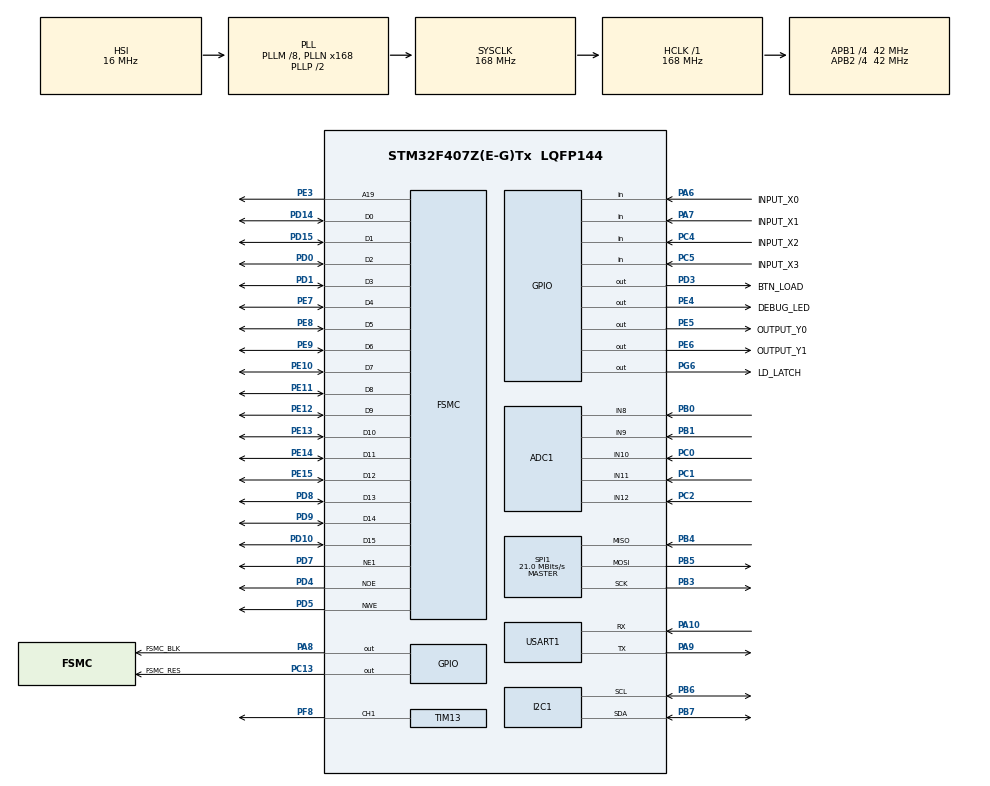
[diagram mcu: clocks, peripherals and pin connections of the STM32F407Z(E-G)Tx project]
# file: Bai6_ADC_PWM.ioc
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ADC1.Channel-0\#ChannelRegularConversion=ADC_CHANNEL_8
ADC1.Channel-1\#ChannelRegularConversion=ADC_CHANNEL_9
ADC1.Channel-2\#ChannelRegularConversion=ADC_CHANNEL_10
ADC1.Channel-3\#ChannelRegularConversion=ADC_CHANNEL_11
ADC1.Channel-4\#ChannelRegularConversion=ADC_CHANNEL_12
ADC1.NbrOfConversion=5
ADC1.NbrOfConversionFlag=1
ADC1.Rank-0\#ChannelRegularConversion=1
ADC1.Rank-1\#ChannelRegularConversion=2
ADC1.Rank-2\#ChannelRegularConversion=3
ADC1.Rank-3\#ChannelRegularConversion=4
ADC1.Rank-4\#ChannelRegularConversion=5
ADC1.SamplingTime-0\#ChannelRegularConversion=ADC_SAMPLETIME_3CYCLES
ADC1.SamplingTime-1\#ChannelRegularConversion=ADC_SAMPLETIME_3CYCLES
ADC1.SamplingTime-2\#ChannelRegularConversion=ADC_SAMPLETIME_3CYCLES
ADC1.SamplingTime-3\#ChannelRegularConversion=ADC_SAMPLETIME_3CYCLES
ADC1.SamplingTime-4\#ChannelRegularConversion=ADC_SAMPLETIME_3CYCLES
ADC1.ScanConvMode=ENABLE
ADC1.master=1
Dma.ADC1.0.Direction=DMA_PERIPH_TO_MEMORY
Dma.ADC1.0.FIFOMode=DMA_FIFOMODE_DISABLE
Dma.ADC1.0.Instance=DMA2_Stream0
Dma.ADC1.0.MemDataAlignment=DMA_MDATAALIGN_HALFWORD
Dma.ADC1.0.MemInc=DMA_MINC_ENABLE
Dma.ADC1.0.Mode=DMA_CIRCULAR
Dma.ADC1.0.PeriphDataAlignment=DMA_PDATAALIGN_HALFWORD
Dma.ADC1.0.PeriphInc=DMA_PINC_DISABLE
Dma.ADC1.0.Priority=DMA_PRIORITY_LOW
Dma.Request0=ADC1
FSMC.AddressSetupTime1=0xf
FSMC.BusTurnAroundDuration1=0
FSMC.DataSetupTime1=60
FSMC.ExtendedAddressSetupTime1=8
FSMC.ExtendedBusTurnAroundDuration1=0
FSMC.ExtendedDataSetupTime1=9
FSMC.ExtendedMode1=FSMC_EXTENDED_MODE_ENABLE
Mcu.Family=STM32F4
Mcu.Name=STM32F407Z(E-G)Tx
Mcu.Package=LQFP144
NVIC.DMA2_Stream0_IRQn=true\:0\:0\:false\:false\:true\:false\:true\:true
NVIC.PriorityGroup=NVIC_PRIORITYGROUP_4
NVIC.TIM2_IRQn=true\:0\:0\:false\:false\:true\:true\:true\:true
NVIC.USART1_IRQn=true\:0\:0\:false\:false\:true\:true\:true\:true
PA10.Mode=Asynchronous
PA10.Signal=USART1_RX
PA13.Mode=Serial_Wire
PA13.Signal=SYS_JTMS-SWDIO
PA14.Mode=Serial_Wire
PA14.Signal=SYS_JTCK-SWCLK
PA6.GPIO_Label=INPUT_X0
PA6.Signal=GPIO_Input
PA7.GPIO_Label=INPUT_X1
PA7.Signal=GPIO_Input
PA8.GPIO_Label=FSMC_BLK
PA8.Signal=GPIO_Output
PA9.Mode=Asynchronous
PA9.Signal=USART1_TX
PB0.Signal=ADCx_IN8
PB1.Signal=ADCx_IN9
PB3.Mode=Full_Duplex_Master
PB3.Signal=SPI1_SCK
PB4.Mode=Full_Duplex_Master
PB4.Signal=SPI1_MISO
PB5.Mode=Full_Duplex_Master
PB5.Signal=SPI1_MOSI
PB6.Mode=I2C
PB6.Signal=I2C1_SCL
PB7.Mode=I2C
PB7.Signal=I2C1_SDA
PC0.Signal=ADCx_IN10
PC1.Signal=ADCx_IN11
PC13-ANTI_TAMP.GPIO_Label=FSMC_RES
PC13-ANTI_TAMP.Signal=GPIO_Output
PC2.Signal=ADCx_IN12
PC4.GPIO_Label=INPUT_X2
PC4.Signal=GPIO_Input
PC5.GPIO_Label=INPUT_X3
PC5.Signal=GPIO_Input
PD0.Signal=FSMC_D2_DA2
PD1.Signal=FSMC_D3_DA3
PD10.Signal=FSMC_D15_DA15
PD14.Signal=FSMC_D0_DA0
PD15.Signal=FSMC_D1_DA1
PD3.GPIO_Label=BTN_LOAD
PD3.Signal=GPIO_Output
PD4.Signal=FSMC_NOE
PD5.Signal=FSMC_NWE
PD7.Mode=NorPsramChipSelect1_1
PD7.Signal=FSMC_NE1
PD8.Signal=FSMC_D13_DA13
PD9.Signal=FSMC_D14_DA14
PE10.Signal=FSMC_D7_DA7
PE11.Signal=FSMC_D8_DA8
PE12.Signal=FSMC_D9_DA9
PE13.Signal=FSMC_D10_DA10
PE14.Signal=FSMC_D11_DA11
PE15.Signal=FSMC_D12_DA12
PE3.Signal=FSMC_A19
PE4.GPIO_Label=DEBUG_LED
PE4.Signal=GPIO_Output
PE5.GPIO_Label=OUTPUT_Y0
PE5.Signal=GPIO_Output
PE6.GPIO_Label=OUTPUT_Y1
PE6.Signal=GPIO_Output
PE7.Signal=FSMC_D4_DA4
PE8.Signal=FSMC_D5_DA5
PE9.Signal=FSMC_D6_DA6
PF8.Signal=S_TIM13_CH1
PG6.GPIO_Label=LD_LATCH
PG6.Signal=GPIO_Output
PH0-OSC_IN.Mode=HSE-External-Oscillator
PH0-OSC_IN.Signal=RCC_OSC_IN
PH1-OSC_OUT.Mode=HSE-External-Oscillator
PH1-OSC_OUT.Signal=RCC_OSC_OUT
ProjectManager.HeapSize=0x200
ProjectManager.StackSize=0x400
ProjectManager.TargetToolchain=STM32CubeIDE
RCC.48MHZClocksFreq_Value=84000000
RCC.AHBFreq_Value=168000000
RCC.APB1CLKDivider=RCC_HCLK_DIV4
RCC.APB1Freq_Value=42000000
RCC.APB1TimFreq_Value=84000000
RCC.APB2CLKDivider=RCC_HCLK_DIV4
RCC.APB2Freq_Value=42000000
RCC.APB2TimFreq_Value=84000000
RCC.CortexFreq_Value=168000000
RCC.HCLKFreq_Value=168000000
RCC.HSE_VALUE=8000000
RCC.HSI_VALUE=16000000
RCC.LSE_VALUE=32768
RCC.PLLM=8
RCC.PLLN=168
RCC.SYSCLKFreq_VALUE=168000000
RCC.SYSCLKSource=RCC_SYSCLKSOURCE_PLLCLK
RCC.VCOOutputFreq_Value=336000000
SH.ADCx_IN10.0=ADC1_IN10,IN10
SH.ADCx_IN11.0=ADC1_IN11,IN11
SH.ADCx_IN12.0=ADC1_IN12,IN12
SH.ADCx_IN8.0=ADC1_IN8,IN8
SH.ADCx_IN9.0=ADC1_IN9,IN9
SH.FSMC_A19.0=FSMC_A19,A19_1
SH.FSMC_D0_DA0.0=FSMC_D0,16b-d1
SH.FSMC_D10_DA10.0=FSMC_D10,16b-d1
SH.FSMC_D11_DA11.0=FSMC_D11,16b-d1
SH.FSMC_D12_DA12.0=FSMC_D12,16b-d1
SH.FSMC_D13_DA13.0=FSMC_D13,16b-d1
SH.FSMC_D14_DA14.0=FSMC_D14,16b-d1
SH.FSMC_D15_DA15.0=FSMC_D15,16b-d1
SH.FSMC_D1_DA1.0=FSMC_D1,16b-d1
SH.FSMC_D2_DA2.0=FSMC_D2,16b-d1
SH.FSMC_D3_DA3.0=FSMC_D3,16b-d1
SH.FSMC_D4_DA4.0=FSMC_D4,16b-d1
SH.FSMC_D5_DA5.0=FSMC_D5,16b-d1
SH.FSMC_D6_DA6.0=FSMC_D6,16b-d1
SH.FSMC_D7_DA7.0=FSMC_D7,16b-d1
SH.FSMC_D8_DA8.0=FSMC_D8,16b-d1
SH.FSMC_D9_DA9.0=FSMC_D9,16b-d1
SH.FSMC_NOE.0=FSMC_NOE,Lcd1
SH.FSMC_NWE.0=FSMC_NWE,Lcd1
SH.S_TIM13_CH1.0=TIM13_CH1,PWM Generation1 CH1
SPI1.BaudRatePrescaler=SPI_BAUDRATEPRESCALER_2
SPI1.CalculateBaudRate=21.0 MBits/s
SPI1.Direction=SPI_DIRECTION_2LINES
SPI1.Mode=SPI_MODE_MASTER
SPI1.VirtualType=VM_MASTER
TIM13.Channel=TIM_CHANNEL_1
TIM13.Period=100-1
TIM13.Prescaler=840-1
TIM2.Period=100-1
TIM2.Prescaler=840-1
USART1.VirtualMode=VM_ASYNC
VP_TIM13_VS_ClockSourceINT.Mode=Enable_Timer
VP_TIM2_VS_ClockSourceINT.Mode=Internal
board=custom

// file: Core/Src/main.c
/* USER CODE BEGIN Header */
/**
 ******************************************************************************
 * @file           : main.c
 * @brief          : Main program body
 ******************************************************************************
 * @attention
 *
 * <h2><center>&copy; Copyright (c) 2023 STMicroelectronics.
 * All rights reserved.</center></h2>
 *
 * This software component is licensed by ST under BSD 3-Clause license,
 * the "License"; You may not use this file except in compliance with the
 * License. You may obtain a copy of the License at:
 *                        opensource.org/licenses/BSD-3-Clause
 *
 ******************************************************************************
 */
/* USER CODE END Header */
#include "main.h"
#include "adc.h"
#include "dma.h"
#include "i2c.h"
#include "spi.h"
#include "tim.h"
#include "usart.h"
#include "gpio.h"
#include "fsmc.h"

/* USER CODE BEGIN Includes */
#include "software_timer.h"
#include "led_7seg.h"
#include "button.h"
#include "lcd.h"
#include "picture.h"
#include "ds3231.h"
#include "sensor.h"
#include "buzzer.h"
#include "global.h"
#include "uart.h"
/* USER CODE END Includes */

/* USER CODE BEGIN PV */
// 0 = Text Mode, 1 = Graph Mode
uint8_t display_mode = 0;
uint8_t mode_changed_flag = 1; // Trigger initial screen setup

// Graph Settings
#define GRAPH_X_START 20
#define GRAPH_Y_BASE 300
#define GRAPH_WIDTH 200
#define GRAPH_HEIGHT 100 // Increased height for better visibility
#define GRAPH_MIN_VAL 500.0f
#define GRAPH_MAX_VAL 700.0f
// Graph State
static uint16_t g_curX = 0;
static uint16_t g_prevY = GRAPH_Y_BASE;
/* USER CODE END PV */

void SystemClock_Config(void);
/* USER CODE BEGIN PFP */
void system_init();
void test_LedDebug();
void test_Buzzer();
void test_Adc();
void checkingCondition();
/* USER CODE END PFP */

int main(void)
{

  /* MCU Configuration--------------------------------------------------------*/

  /* Reset of all peripherals, Initializes the Flash interface and the Systick. */
  HAL_Init();

  /* Configure the system clock */
  SystemClock_Config();

  /* Initialize all configured peripherals */
  MX_GPIO_Init();
  MX_DMA_Init();
  MX_TIM2_Init();
  MX_SPI1_Init();
  MX_FSMC_Init();
  MX_I2C1_Init();
  MX_TIM13_Init();
  MX_ADC1_Init();
  MX_USART1_UART_Init();
  /* USER CODE BEGIN 2 */
  system_init();
  /* USER CODE END 2 */

  /* Infinite loop */
  /* USER CODE BEGIN WHILE */
  lcd_Clear(BLACK);
  while (1)
  {
    while (!flag_timer2)
      ;
    flag_timer2 = 0;
    button_Scan();
    test_LedDebug();
    test_Adc();
    test_Buzzer();
    checkingCondition();
    /* USER CODE END WHILE */

  }
}

void SystemClock_Config(void)
{
  RCC_OscInitTypeDef RCC_OscInitStruct = {0};
  RCC_ClkInitTypeDef RCC_ClkInitStruct = {0};

  /** Configure the main internal regulator output voltage
   */
  __HAL_RCC_PWR_CLK_ENABLE();
  __HAL_PWR_VOLTAGESCALING_CONFIG(PWR_REGULATOR_VOLTAGE_SCALE1);
  /** Initializes the RCC Oscillators according to the specified parameters
   * in the RCC_OscInitTypeDef structure.
   */
  RCC_OscInitStruct.OscillatorType = RCC_OSCILLATORTYPE_HSI;
  RCC_OscInitStruct.HSIState = RCC_HSI_ON;
  RCC_OscInitStruct.HSICalibrationValue = RCC_HSICALIBRATION_DEFAULT;
  RCC_OscInitStruct.PLL.PLLState = RCC_PLL_ON;
  RCC_OscInitStruct.PLL.PLLSource = RCC_PLLSOURCE_HSI;
  RCC_OscInitStruct.PLL.PLLM = 8;
  RCC_OscInitStruct.PLL.PLLN = 168;
  RCC_OscInitStruct.PLL.PLLP = RCC_PLLP_DIV2;
  RCC_OscInitStruct.PLL.PLLQ = 4;
  if (HAL_RCC_OscConfig(&RCC_OscInitStruct) != HAL_OK)
  {
    Error_Handler();
  }
  /** Initializes the CPU, AHB and APB buses clocks
   */
  RCC_ClkInitStruct.ClockType = RCC_CLOCKTYPE_HCLK | RCC_CLOCKTYPE_SYSCLK | RCC_CLOCKTYPE_PCLK1 | RCC_CLOCKTYPE_PCLK2;
  RCC_ClkInitStruct.SYSCLKSource = RCC_SYSCLKSOURCE_PLLCLK;
  RCC_ClkInitStruct.AHBCLKDivider = RCC_SYSCLK_DIV1;
  RCC_ClkInitStruct.APB1CLKDivider = RCC_HCLK_DIV4;
  RCC_ClkInitStruct.APB2CLKDivider = RCC_HCLK_DIV4;

  if (HAL_RCC_ClockConfig(&RCC_ClkInitStruct, FLASH_LATENCY_5) != HAL_OK)
  {
    Error_Handler();
  }
}

/* USER CODE BEGIN 4 */
void system_init()
{
  timer_init();
  button_init();
  lcd_init();
  sensor_init();
  buzzer_init();
  init_RTC_timer();
  uart_init_rs232();
  setTimer2(50);
}

uint8_t count_led_debug = 0;

void test_LedDebug()
{
  count_led_debug = (count_led_debug + 1) % 20;
  if (count_led_debug == 0)
  {
    HAL_GPIO_TogglePin(DEBUG_LED_GPIO_Port, DEBUG_LED_Pin);
  }
}

uint8_t isButtonUp()
{
  if (button_count[3] == 1)
    return 1;
  else
    return 0;
}

uint8_t isButtonDown()
{
  if (button_count[7] == 1)
    return 1;
  else
    return 0;
}

uint8_t isButtonRight()
{
  if (button_count[11] == 1)
    return 1;
  else
    return 0;
}
// Check Button 12 for Mode Switching
uint8_t isButtonModeSwitch()
{
  if (button_count[12] == 1) // Using Index 12
    return 1;
  else
    return 0;
}

void display_TextMode(void)
{
  float voltage = sensor_GetVoltage();
  float current = sensor_GetCurrent();
  float power = (voltage * current) / 1000; // Tính Công suất P = V * I

  // Logic to display text info

  lcd_ShowStr(10, 100, "Power (Watt):", RED, BLACK, 16, 0);
  lcd_ShowFloatNum(130, 100, power, 4, RED, BLACK, 16);

  lcd_ShowStr(10, 140, "Light:", RED, BLACK, 16, 0);
  lcd_ShowIntNum(130, 140, sensor_GetLight(), 4, RED, BLACK, 16);

  lcd_ShowStr(10, 160, "Potentiometer:", RED, BLACK, 16, 0);
  lcd_ShowIntNum(130, 160, sensor_GetPotentiometer(), 4, RED, BLACK, 16);

  lcd_ShowStr(10, 180, "Potentio %:", RED, BLACK, 16, 0);
  lcd_ShowIntNum(130, 180, glb_pct_Potentiometer, 4, RED, BLACK, 16);

  lcd_ShowStr(10, 200, "Temp:", RED, BLACK, 16, 0);
  lcd_ShowFloatNum(130, 200, sensor_GetTemperature(), 4, RED, BLACK, 16);

  // Date and Time
  ds3231_ReadTime();
  char time_str[9];
  sprintf(time_str, "%02d:%02d:%02d", ds3231_hours, ds3231_min, ds3231_sec);
  lcd_ShowStr(130, 220, time_str, RED, BLACK, 16, 0);

  char date_str[11];
  sprintf(date_str, "%02d/%02d/20%02d", ds3231_date, ds3231_month, ds3231_year);
  lcd_ShowStr(130, 240, date_str, RED, BLACK, 16, 0);
}

void display_GraphMode(void)
{
  float voltage = sensor_GetVoltage();
  float current = sensor_GetCurrent();

  // 1. Draw Title
  lcd_ShowStr(10, 40, "Power Zoom (mW)", WHITE, BLACK, 16, 0);

  // --- DEBUG RAW VALUES ---
  lcd_ShowStr(10, 60, "V:", GREEN, BLACK, 16, 0);
  lcd_ShowFloatNum(40, 60, voltage, 4, GREEN, BLACK, 16);
  lcd_ShowStr(100, 60, "mA:", GREEN, BLACK, 16, 0);
  lcd_ShowFloatNum(130, 60, current, 5, GREEN, BLACK, 16);
  // ------------------------

  // 2. Calculate Power
  // Using your specific formula from the provided code
  float power_mW = (voltage * current) / 100.0f;

  // Show current Power value
  lcd_ShowStr(10, 80, "P(mW/10):", YELLOW, BLACK, 16, 0);
  lcd_ShowFloatNum(80, 80, power_mW, 5, YELLOW, BLACK, 16);

  // 3. NEW: Calculate "Zoomed" Y-Offset
  float range = GRAPH_MAX_VAL - GRAPH_MIN_VAL; // Range is 200 (700 - 500)

  // Clamp the value so it doesn't draw outside the box
  float display_val = power_mW;
  if (display_val < GRAPH_MIN_VAL)
    display_val = GRAPH_MIN_VAL;
  if (display_val > GRAPH_MAX_VAL)
    display_val = GRAPH_MAX_VAL;

  // Subtract Min so we start plotting from the bottom of our range
  float val_offset = display_val - GRAPH_MIN_VAL;

  // Scale to pixels
  uint16_t pixel_height = (uint16_t)((val_offset / range) * GRAPH_HEIGHT);

  // Invert for Screen Coordinates (Y=0 is top)
  uint16_t pointY = GRAPH_Y_BASE - pixel_height;
  uint16_t pointX = GRAPH_X_START + g_curX;

  // 4. Handle Graph Wrap-around
  if (g_curX >= GRAPH_WIDTH)
  {
    // Clear graph area
    lcd_Fill(GRAPH_X_START, GRAPH_Y_BASE - GRAPH_HEIGHT, GRAPH_X_START + GRAPH_WIDTH, GRAPH_Y_BASE + 1, BLACK);

    // Draw Frame
    lcd_DrawRectangle(GRAPH_X_START, GRAPH_Y_BASE - GRAPH_HEIGHT, GRAPH_X_START + GRAPH_WIDTH, GRAPH_Y_BASE, WHITE);

    g_curX = 0;
    pointX = GRAPH_X_START;
    g_prevY = pointY;
  }

  // 5. Draw Line
  if (g_curX > 0)
  {
    // Draw line from previous point to current point
    lcd_DrawLine(pointX - 5, g_prevY, pointX, pointY, CYAN);
  }

  g_prevY = pointY;
  g_curX += 5;
}

uint8_t count_adc = 0;
uint8_t condition_met = 0;
uint8_t buzzer_volume = 0;
uint8_t timer_buzzer = 0;

void test_Adc()
{
  // --- PART 1: Button Check (Runs every 50ms) ---
  if (isButtonModeSwitch())
  {
    display_mode = !display_mode; // Toggle Mode
    mode_changed_flag = 1;        // Set flag to clear screen

    // UX Trick: Reset the counter to 0 so the screen updates
    // immediately on the next loop, rather than waiting for the second to finish.
    count_adc = 19;

    // Reset graph X if entering graph mode
    if (display_mode == 1)
    {
      g_curX = 0;
    }
  }

  // --- PART 2: Periodic Update (Runs every 1s) ---
  count_adc = (count_adc + 1) % 20;

  if (count_adc == 0)
  {
    // Always read sensors so data is fresh
    if (sensor_Read() == 0)
      return;

    // Handle Screen Clearing if mode changed
    if (mode_changed_flag)
    {
      lcd_Clear(BLACK);
      mode_changed_flag = 0;

      // If entering Graph Mode, draw axes immediately
      if (display_mode == 1)
      {
        lcd_DrawLine(GRAPH_X_START, GRAPH_Y_BASE, GRAPH_X_START + GRAPH_WIDTH, GRAPH_Y_BASE, WHITE);
        lcd_DrawLine(GRAPH_X_START, GRAPH_Y_BASE, GRAPH_X_START, GRAPH_Y_BASE - GRAPH_HEIGHT, WHITE);
      }
    }

    // Select Display Routine
    if (display_mode == 0)
    {
      display_TextMode();
    }
    else
    {
      display_GraphMode();
    }
  }
}
char *err_msg = "Caution: Potentiometer percentage exceeded 70%\r\n";
void checkingCondition()
{
  if (glb_pct_Potentiometer >= 70)
  {
    condition_met = 1;
  }
  else
  {
    condition_met = 0;
    buzzer_SetVolume(0); // turn off buzzer
    timer_buzzer = 0;
  }
  if (condition_met)
  {
    timer_buzzer++;
    if (timer_buzzer >= 20)
    { // 1 second has passed
      timer_buzzer = 0;
      if (buzzer_volume == 0)
      {
        buzzer_volume = 50; // turn on buzzer
      }
      else
      {
        buzzer_volume = 0; // turn off buzzer
      }
      buzzer_SetVolume(buzzer_volume);
      uart_Rs232SendString((uint8_t *)err_msg);
    }
    // Do something when condition is met
    // Write caution to UART
    // HAL_UART_Transmit(&huart2, (uint8_t*)msg, strlen(msg), 100);
  }
}

void init_RTC_timer()
{
  ds3231_init();
  ds3231_Write(0x00, 0);  // second
  ds3231_Write(0x01, 50); // minute
  ds3231_Write(0x02, 8);  // hour
  ds3231_Write(0x03, 4);  // day
  ds3231_Write(0x04, 19); // date
  ds3231_Write(0x05, 11); // month
  ds3231_Write(0x06, 25); // year
}

void test_Buzzer()
{
  if (isButtonUp())
  {
    buzzer_SetVolume(50);
  }

  if (isButtonDown())
  {
    buzzer_SetVolume(0);
  }

  if (isButtonRight())
  {
    buzzer_SetVolume(25);
  }
}
/* USER CODE END 4 */

void Error_Handler(void)
{
  __disable_irq();
  while (1)
  {
  }
}

/************************ (C) COPYRIGHT STMicroelectronics *****END OF FILE****/
